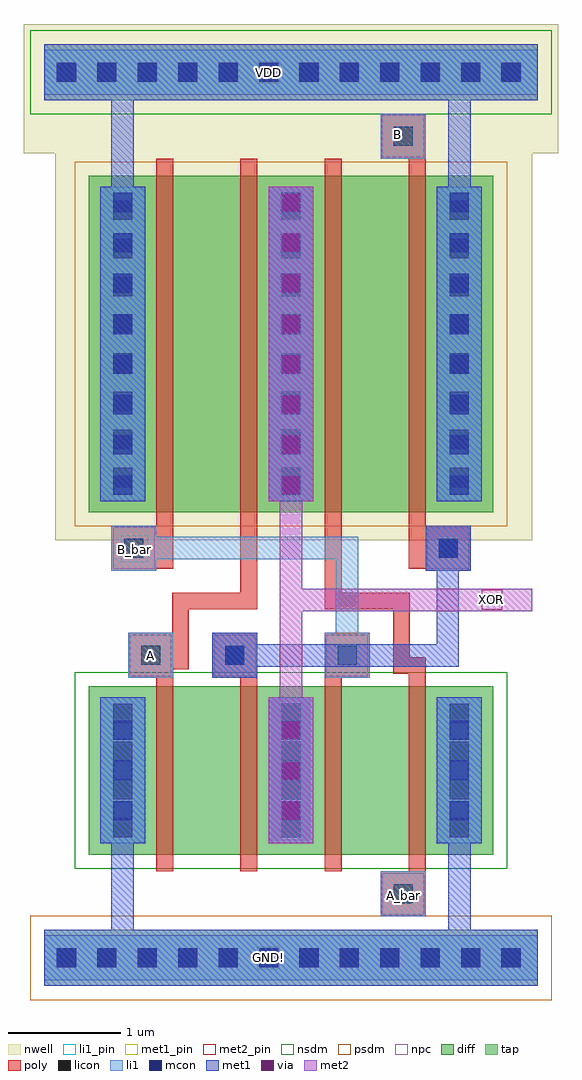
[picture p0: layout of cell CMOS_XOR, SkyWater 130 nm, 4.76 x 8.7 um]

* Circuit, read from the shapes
.subckt CMOS_XOR A A_bar B B_bar GND! VDD XOR
XM1 n1 A GND! GND! sky130_fd_pr__nfet_01v8 w=1.5 l=0.15
XM2 XOR B n1 GND! sky130_fd_pr__nfet_01v8 w=1.5 l=0.15
XM3 n2 B_bar XOR GND! sky130_fd_pr__nfet_01v8 w=1.5 l=0.15
XM4 GND! A_bar n2 GND! sky130_fd_pr__nfet_01v8 w=1.5 l=0.15
XM5 n3 B_bar VDD VDD sky130_fd_pr__pfet_01v8 w=3 l=0.15
XM6 XOR A n3 VDD sky130_fd_pr__pfet_01v8 w=3 l=0.15
XM7 n4 A_bar XOR VDD sky130_fd_pr__pfet_01v8 w=3 l=0.15
XM8 VDD B n4 VDD sky130_fd_pr__pfet_01v8 w=3 l=0.15
.ends

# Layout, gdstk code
import gdstk
lib = gdstk.Library(unit=1e-6, precision=1e-09)
def R(c, l, rs):  # rectangles x0, y0, x1, y1
    for r in rs: c.add(gdstk.rectangle(r[:2], r[2:], *l))
def A(c, l, x, y, w, h, nx, ny, dx, dy):  # array of equal rectangles
    R(c, l, [(x+i*dx, y+j*dy, x+i*dx+w, y+j*dy+h) for i in range(nx) for j in range(ny)])
nwell = (64, 20)
diff = (65, 20)
tap = (65, 44)
poly = (66, 20)
licon = (66, 44)
li1_pin = (67, 16)
li1 = (67, 20)
mcon = (67, 44)
met1_pin = (68, 16)
met1 = (68, 20)
via = (68, 44)
met2_pin = (69, 16)
met2 = (69, 20)
nsdm = (93, 44)
psdm = (94, 20)
npc = (95, 20)

cmos_xor = lib.new_cell('CMOS_XOR')
R(cmos_xor, nwell, [(-12.5,2.95,-8.25,6.4), (-12.78,6.4,-8.02,7.55)])
R(cmos_xor, diff, [(-12.2,0.15,-8.6,1.65), (-12.2,3.2,-8.6,6.2)])
R(cmos_xor, tap, [(-12.6,-1.02,-8.2,-0.52), (-12.6,6.87,-8.2,7.37)])
A(cmos_xor, poly, -11.6, 0, 0.15, 1.725, 3, 1, 0.75, 0)
R(cmos_xor, poly, [(-9.6,-0.4,-9.2,0), (-9.35,0,-9.2,1.76), (-11.85,1.725,-11.45,1.8), (-11.1,1.725,-10.7,2.125), (-10.1,1.725,-9.7,2.125), (-9.49,1.76,-9.2,1.91), (-11.85,1.8,-11.31,2.125), (-9.49,1.91,-9.34,2.335), (-11.46,2.125,-11.31,2.335), (-11.46,2.335,-10.7,2.485), (-10.1,2.335,-9.34,2.485), (-10.85,2.485,-10.7,6.35), (-10.1,2.485,-9.95,6.35), (-12,2.68,-11.6,2.695), (-9.2,2.68,-8.8,2.695), (-12,2.695,-11.45,3.08), (-9.35,2.695,-8.8,3.08), (-11.6,3.08,-11.45,6.35), (-9.35,3.08,-9.2,6.35), (-9.6,6.35,-9.2,6.75)])
A(cmos_xor, licon, -12.485, -0.855, 0.17, 0.17, 12, 2, 0.36, 7.89)
A(cmos_xor, licon, -11.985, 0.305, 0.17, 0.17, 3, 4, 1.5, 0.34)
A(cmos_xor, licon, -11.985, 3.425, 0.17, 0.17, 3, 8, 1.5, 0.34)
R(cmos_xor, licon, [(-9.485,-0.285,-9.315,-0.115), (-11.735,1.84,-11.565,2.01), (-10.985,1.84,-10.815,2.01), (-9.985,1.84,-9.815,2.01), (-11.885,2.795,-11.715,2.965), (-9.085,2.795,-8.915,2.965), (-9.485,6.465,-9.315,6.635)])
R(cmos_xor, li1_pin, [(-9.485,-0.285,-9.315,-0.115), (-11.735,1.84,-11.565,2.01), (-11.915,2.755,-11.67,2.99), (-9.485,6.465,-9.315,6.635)])
A(cmos_xor, li1, -12.1, 0.25, 0.4, 1.3, 3, 1, 1.5, 0)
A(cmos_xor, li1, -12.1, 3.3, 0.4, 2.8, 3, 1, 1.5, 0)
R(cmos_xor, li1, [(-12.6,-0.97,-8.2,-0.57), (-9.6,-0.4,-9.2,0), (-11.85,1.725,-11.45,2.125), (-11.1,1.725,-10.7,2.125), (-10.1,1.725,-9.7,2.125), (-10,2.125,-9.8,2.78), (-12,2.68,-11.6,2.78), (-9.2,2.68,-8.8,3.08), (-12,2.78,-9.8,2.98), (-12,2.98,-11.6,3.08), (-9.6,6.35,-9.2,6.75), (-12.6,6.92,-8.2,7.32)])
A(cmos_xor, mcon, -12.485, -0.855, 0.17, 0.17, 12, 2, 0.36, 7.89)
A(cmos_xor, mcon, -11.985, 0.455, 0.17, 0.17, 3, 3, 1.5, 0.36)
A(cmos_xor, mcon, -11.985, 3.355, 0.17, 0.17, 3, 8, 1.5, 0.36)
R(cmos_xor, mcon, [(-10.985,1.84,-10.815,2.01), (-9.085,2.795,-8.915,2.965)])
R(cmos_xor, met1_pin, [(-10.7,-0.87,-10.5,-0.67), (-10.7,7.02,-10.5,7.22)])
A(cmos_xor, met1, -12.1, 0.25, 0.4, 1.3, 3, 1, 1.5, 0)
A(cmos_xor, met1, -12.1, 3.3, 0.4, 2.8, 3, 1, 1.5, 0)
R(cmos_xor, met1, [(-12.6,-1.02,-8.2,-0.52), (-12,-0.52,-11.8,0.25), (-9,-0.52,-8.8,0.25), (-11.1,1.725,-10.7,1.825), (-11.1,1.825,-8.905,2.025), (-11.1,2.025,-10.7,2.125), (-9.1,2.025,-8.905,2.68), (-9.2,2.68,-8.8,3.08), (-12,6.1,-11.8,6.87), (-9,6.1,-8.8,6.87), (-12.6,6.87,-8.2,7.37)])
A(cmos_xor, via, -10.475, 0.465, 0.15, 0.15, 1, 3, 0, 0.36)
A(cmos_xor, via, -10.475, 3.365, 0.15, 0.15, 1, 8, 0, 0.36)
R(cmos_xor, met2_pin, [(-8.7,2.33,-8.52,2.51)])
R(cmos_xor, met2, [(-10.6,0.25,-10.2,1.55), (-10.5,1.55,-10.3,2.32), (-10.5,2.32,-8.25,2.52), (-10.5,2.52,-10.3,3.3), (-10.6,3.3,-10.2,6.1)])
R(cmos_xor, nsdm, [(-12.325,0.025,-8.475,1.775), (-12.725,6.745,-8.075,7.495)])
R(cmos_xor, psdm, [(-12.725,-1.145,-8.075,-0.395), (-12.325,3.075,-8.475,6.325)])
R(cmos_xor, npc, [(-9.585,-0.385,-9.215,-0.015), (-11.835,1.74,-11.465,2.11), (-11.085,1.74,-10.715,2.11), (-10.085,1.74,-9.715,2.11), (-11.985,2.695,-11.615,3.065), (-9.185,2.695,-8.815,3.065), (-9.585,6.365,-9.215,6.735)])
cmos_xor.add(gdstk.Label('GND!', (-10.6,-0.77), layer=68, texttype=16))
cmos_xor.add(gdstk.Label('VDD', (-10.6,7.12), layer=68, texttype=16))
cmos_xor.add(gdstk.Label('B', (-9.455,6.57), layer=67, texttype=16))
cmos_xor.add(gdstk.Label('A_bar', (-9.4,-0.21), layer=67, texttype=16))
cmos_xor.add(gdstk.Label('A', (-11.65,1.925), layer=67, texttype=16))
cmos_xor.add(gdstk.Label('B_bar', (-11.792,2.872), layer=67, texttype=16))
cmos_xor.add(gdstk.Label('XOR', (-8.61,2.42), layer=69, texttype=16))

lib.write_gds('CMOS_XOR.gds')
